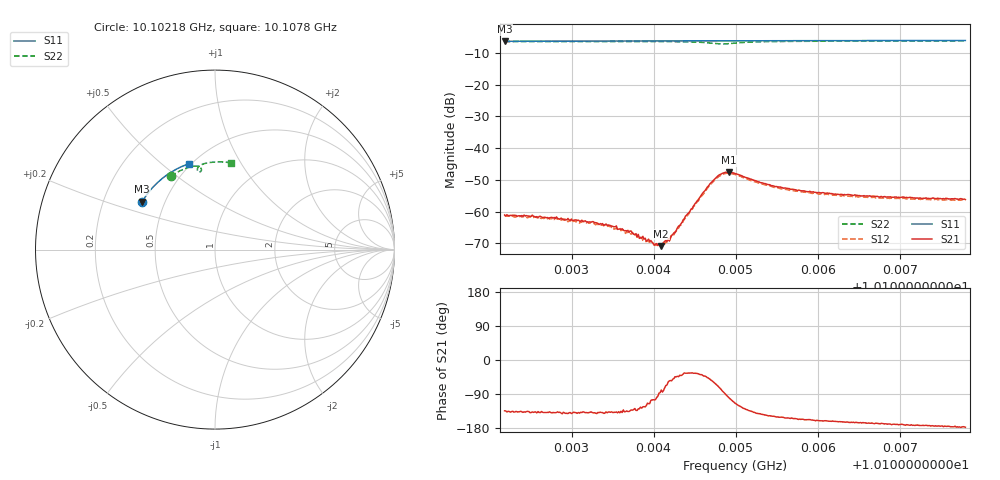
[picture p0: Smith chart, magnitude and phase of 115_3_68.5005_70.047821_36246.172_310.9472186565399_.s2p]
#  HZ  S  RI  R  50.00
! Rohde & Schwarz Vector Network Analyzer
! Rohde-Schwarz,ZNB20-2Port,1311601062101988,3.16
! Created: UTC 3/20/2024, 5:08:53 PM
! freq[Hz]  re:S11  im:S11  re:S21  im:S21  re:S12  im:S12  re:S22  im:S22
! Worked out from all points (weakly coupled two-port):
!   401 points, 10.10218 GHz to 10.1078 GHz, reference 50 ohm
!   highest |S21| = -47.54 dB at 10.10492 GHz (marker M1); lowest = -70.9 dB at 10.10409 GHz (marker M2)
!   lowest |S11| = -6.3 dB at 10.10218 GHz (marker M3), VSWR 2.89, Z = 18.7 + j13.1 ohm
!   |S11| at or under -10 dB: nowhere
!   |S22| runs from -7.1 to -6.2 dB; largest |S21 - S12| = 0.00044
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1.0102184e10  -0.4051 0.2674  -0.000617 -0.000636  -0.000573 -0.000661  -0.2461 0.4096
1.0102788e10  -0.3853 0.2985  -0.000609 -0.000535  -0.000522 -0.000541  -0.212 0.43
1.0103125e10  -0.373 0.315  -0.000553 -0.000482  -0.000472 -0.000499  -0.192 0.4402
1.0103448e10  -0.361 0.3303  -0.000452 -0.000418  -0.000414 -0.000436  -0.1721 0.4491
1.0103602e10  -0.3548 0.3374  -0.000373 -0.000369  -0.000342 -0.000368  -0.1622 0.4531
1.0103687e10  -0.3515 0.3413  -0.000364 -0.000353  -0.000296 -0.000362  -0.1565 0.4549
1.0103757e10  -0.3485 0.3445  -0.000292 -0.000336  -0.000272 -0.000354  -0.152 0.4567
1.0103897e10  -0.3429 0.3508  -0.000213 -0.000319  -0.000166 -0.000293  -0.1422 0.4597
1.0104024e10  -0.3375 0.3564  -7.7e-05 -0.000298  -3.11e-05 -0.000302  -0.1331 0.4622
1.0104066e10  -0.3357 0.3583  1.26e-05 -0.000308  1.27e-05 -0.000304  -0.1299 0.4629
1.0104094e10  -0.3345 0.3594  5.39e-05 -0.000282  4e-05 -0.000289  -0.1278 0.4634
1.0104164e10  -0.3317 0.3624  0.000139 -0.000308  0.000183 -0.000279  -0.1223 0.4643
1.010422e10  -0.3292 0.3649  0.000242 -0.000345  0.000275 -0.000332  -0.1177 0.465
1.0104585e10  -0.3129 0.38  0.00145 -0.00116  0.00147 -0.00098  -0.0838 0.4595
1.0104712e10  -0.3073 0.3849  0.0017 -0.0024  0.00186 -0.00216  -0.0753 0.4466
1.010481e10  -0.3025 0.3888  0.00102 -0.00371  0.00129 -0.00344  -0.0799 0.4349
1.0104922e10  -0.2976 0.3931  -0.000771 -0.00412  -0.000345 -0.00402  -0.0937 0.4353
1.0104992e10  -0.2944 0.3958  -0.0016 -0.00364  -0.00122 -0.00366  -0.098 0.4431
1.0105456e10  -0.2722 0.4129  -0.00219 -0.00134  -0.00196 -0.00147  -0.0703 0.4753
1.0105933e10  -0.2482 0.4292  -0.00189 -0.000743  -0.00173 -0.000859  -0.0358 0.4842
1.0106874e10  -0.1983 0.4566  -0.00167 -0.000332  -0.00155 -0.000454  0.0273 0.4885
1.0107801e10  -0.1465 0.4778  -0.00155 -6.83e-05  -0.00148 -0.000217  0.0873 0.4839
